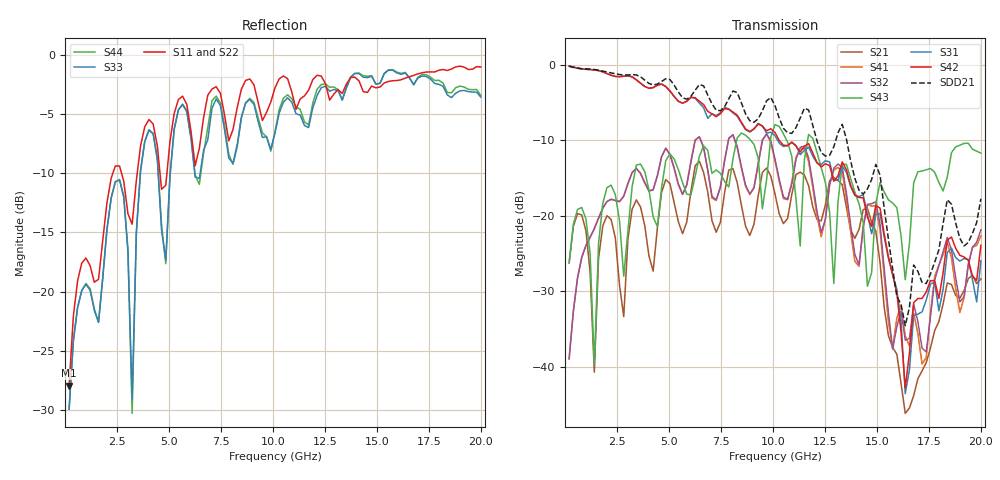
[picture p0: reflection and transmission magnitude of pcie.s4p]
! Touchstone file exported from Ansys Full-Wave Spice
!  Setup: _REORDER
! Creation time: Tue Aug 13 15:29:55 2024
! Notes: Frequency range: 0 to 2e+10 Hz, 100 points
!  : Maximum number of poles: 10000
!  : S-Matrix fitting error tolerance: 0.005
!  : Causality check tolerance: 0.01
!  : Passivity enforcement: off
!  : Causality enforcement: off
!  : Fitting method: FastFit
!  : Matrix fitting: By entire matrix (required by FastFit)
!  : Ensure Z-parameter accuracy: on
!  : Relative error control: off
!  : Common ground option: on
!  : Final fitting error: 0.00405851
!  : Final model order: 368
# GHZ S MA R 50
! Modal data exported
! Port[1] = Port1
! Port[2] = Port2
! Port[3] = U2A5.AM2.PCIE0_RX0_P
! Port[4] = U2A5.AN1.PCIE0_RX0_N
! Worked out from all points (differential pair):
!   99 points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, 202 MHz to 20 GHz, reference 50 ohm
!   strongest paths, dB at 202 MHz, 5.051 GHz, 10.1 GHz, 15.15 GHz, 20 GHz:
!     S42: -0.2, -3.5, -9.0, -19.0, -23.9
!     S31: -0.2, -3.5, -9.4, -19.7, -26.0
!     S43: -26.2, -11.8, -7.9, -15.6, -11.7
!     S32: -39.0, -11.9, -12.5, -21.2, -21.9
!     S41: -39.0, -11.9, -12.7, -21.9, -22.7
!     S21: -26.3, -15.7, -17.1, -26.2, -28.4
!   taken as a pair (ports 2,1 in; 4,3 out), SDD21 dB: -0.2, -1.9, -5.4, -14.6, -17.8
!   lowest |S11| = -28.0 dB at 202 MHz (marker M1), VSWR 1.08, Z = 50.2 - j4 ohm
!   |S11| at or under -10 dB: start of sweep to 2.304 GHz; 2.723 GHz to 3.476 GHz (753.2 MHz wide, 24.3 % of centre); 4.572 GHz to 4.904 GHz (332.1 MHz wide, 7.01 % of centre)
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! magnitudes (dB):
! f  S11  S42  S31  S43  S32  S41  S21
! 202 MHz  -28.0  -0.2  -0.2  -26.2  -39.0  -39.0  -26.3
! 1.414 GHz  -19.2  -0.7  -0.7  -39.8  -21.7  -21.7  -40.8
! 2.02 GHz  -12.5  -1.2  -1.2  -16.3  -18.1  -18.1  -20.0
! 6.465 GHz  -7.9  -4.8  -5.1  -12.1  -9.5  -9.5  -12.8
! 14.55 GHz  -3.2  -20.2  -19.8  -29.3  -18.5  -18.5  -19.0
! 16.36 GHz  -2.0  -42.8  -43.6  -28.5  -36.5  -36.0  -46.2
! 20 GHz  -1.0  -23.9  -26.0  -11.7  -21.9  -22.7  -28.4
